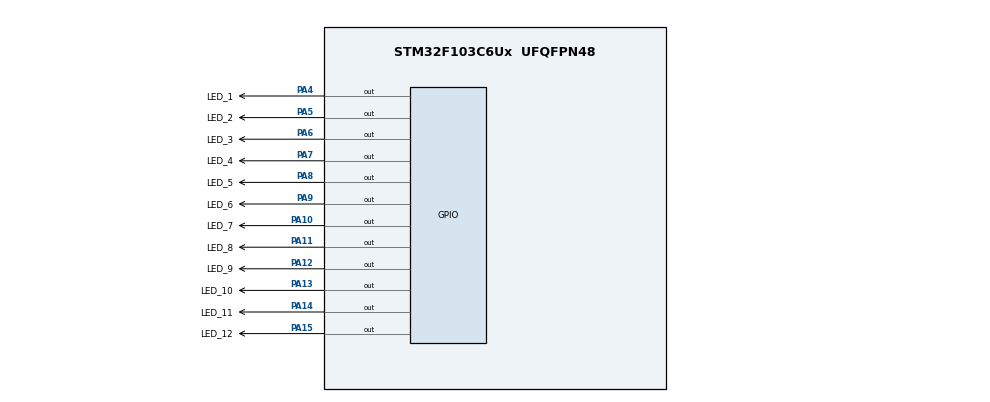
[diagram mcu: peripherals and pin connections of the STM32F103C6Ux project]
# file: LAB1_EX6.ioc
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Mcu.Family=STM32F1
Mcu.Name=STM32F103C6Ux
Mcu.Package=UFQFPN48
NVIC.PriorityGroup=NVIC_PRIORITYGROUP_4
PA10.GPIO_Label=LED_7
PA10.Signal=GPIO_Output
PA11.GPIO_Label=LED_8
PA11.Signal=GPIO_Output
PA12.GPIO_Label=LED_9
PA12.Signal=GPIO_Output
PA13.GPIO_Label=LED_10
PA13.Signal=GPIO_Output
PA14.GPIO_Label=LED_11
PA14.Signal=GPIO_Output
PA15.GPIO_Label=LED_12
PA15.Signal=GPIO_Output
PA4.GPIO_Label=LED_1
PA4.Signal=GPIO_Output
PA5.GPIO_Label=LED_2
PA5.Signal=GPIO_Output
PA6.GPIO_Label=LED_3
PA6.Signal=GPIO_Output
PA7.GPIO_Label=LED_4
PA7.Signal=GPIO_Output
PA8.GPIO_Label=LED_5
PA8.Signal=GPIO_Output
PA9.GPIO_Label=LED_6
PA9.Signal=GPIO_Output
ProjectManager.HeapSize=0x200
ProjectManager.StackSize=0x400
ProjectManager.TargetToolchain=STM32CubeIDE
RCC.APB1Freq_Value=8000000
RCC.APB2Freq_Value=8000000
VP_SYS_VS_ND.Mode=No_Debug
board=custom

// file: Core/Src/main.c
/* USER CODE BEGIN Header */
/**
  ******************************************************************************
  * @file           : main.c
  * @brief          : Main program body
  ******************************************************************************
  * @attention
  *
  * <h2><center>&copy; Copyright (c) 2023 STMicroelectronics.
  * All rights reserved.</center></h2>
  *
  * This software component is licensed by ST under BSD 3-Clause license,
  * the "License"; You may not use this file except in compliance with the
  * License. You may obtain a copy of the License at:
  *                        opensource.org/licenses/BSD-3-Clause
  *
  ******************************************************************************
  */
/* USER CODE END Header */
#include "main.h"

void SystemClock_Config(void);
static void MX_GPIO_Init(void);

int main(void)
{

  /* MCU Configuration--------------------------------------------------------*/

  /* Reset of all peripherals, Initializes the Flash interface and the Systick. */
  HAL_Init();

  /* Configure the system clock */
  SystemClock_Config();

  /* Initialize all configured peripherals */
  MX_GPIO_Init();
  /* USER CODE BEGIN 2 */

  void setNumberOnClock(int num){
	  switch(num){
	  case 1:
		  HAL_GPIO_WritePin(LED_1_GPIO_Port, LED_1_Pin, SET);
		  HAL_GPIO_WritePin(LED_2_GPIO_Port, LED_2_Pin, RESET);
		  HAL_GPIO_WritePin(LED_3_GPIO_Port, LED_3_Pin, RESET);
		  HAL_GPIO_WritePin(LED_4_GPIO_Port, LED_4_Pin, RESET);
		  HAL_GPIO_WritePin(LED_5_GPIO_Port, LED_5_Pin, RESET);
		  HAL_GPIO_WritePin(LED_6_GPIO_Port, LED_6_Pin, RESET);
		  HAL_GPIO_WritePin(LED_7_GPIO_Port, LED_7_Pin, RESET);
		  HAL_GPIO_WritePin(LED_8_GPIO_Port, LED_8_Pin, RESET);
		  HAL_GPIO_WritePin(LED_9_GPIO_Port, LED_9_Pin, RESET);
		  HAL_GPIO_WritePin(LED_10_GPIO_Port, LED_10_Pin, RESET);
		  HAL_GPIO_WritePin(LED_11_GPIO_Port, LED_11_Pin, RESET);
		  HAL_GPIO_WritePin(LED_12_GPIO_Port, LED_12_Pin, RESET);
		  break;

	  case 2:
		  HAL_GPIO_WritePin(LED_1_GPIO_Port, LED_1_Pin, RESET);
		  HAL_GPIO_WritePin(LED_2_GPIO_Port, LED_2_Pin, SET);
		  HAL_GPIO_WritePin(LED_3_GPIO_Port, LED_3_Pin, RESET);
		  HAL_GPIO_WritePin(LED_4_GPIO_Port, LED_4_Pin, RESET);
		  HAL_GPIO_WritePin(LED_5_GPIO_Port, LED_5_Pin, RESET);
		  HAL_GPIO_WritePin(LED_6_GPIO_Port, LED_6_Pin, RESET);
		  HAL_GPIO_WritePin(LED_7_GPIO_Port, LED_7_Pin, RESET);
		  HAL_GPIO_WritePin(LED_8_GPIO_Port, LED_8_Pin, RESET);
		  HAL_GPIO_WritePin(LED_9_GPIO_Port, LED_9_Pin, RESET);
		  HAL_GPIO_WritePin(LED_10_GPIO_Port, LED_10_Pin, RESET);
		  HAL_GPIO_WritePin(LED_11_GPIO_Port, LED_11_Pin, RESET);
		  HAL_GPIO_WritePin(LED_12_GPIO_Port, LED_12_Pin, RESET);
		  break;

	  case 3:
		  HAL_GPIO_WritePin(LED_1_GPIO_Port, LED_1_Pin, RESET);
		  HAL_GPIO_WritePin(LED_2_GPIO_Port, LED_2_Pin, RESET);
		  HAL_GPIO_WritePin(LED_3_GPIO_Port, LED_3_Pin, SET);
		  HAL_GPIO_WritePin(LED_4_GPIO_Port, LED_4_Pin, RESET);
		  HAL_GPIO_WritePin(LED_5_GPIO_Port, LED_5_Pin, RESET);
		  HAL_GPIO_WritePin(LED_6_GPIO_Port, LED_6_Pin, RESET);
		  HAL_GPIO_WritePin(LED_7_GPIO_Port, LED_7_Pin, RESET);
		  HAL_GPIO_WritePin(LED_8_GPIO_Port, LED_8_Pin, RESET);
		  HAL_GPIO_WritePin(LED_9_GPIO_Port, LED_9_Pin, RESET);
		  HAL_GPIO_WritePin(LED_10_GPIO_Port, LED_10_Pin, RESET);
		  HAL_GPIO_WritePin(LED_11_GPIO_Port, LED_11_Pin, RESET);
		  HAL_GPIO_WritePin(LED_12_GPIO_Port, LED_12_Pin, RESET);
		  break;

	  case 4:
		  HAL_GPIO_WritePin(LED_1_GPIO_Port, LED_1_Pin, RESET);
		  HAL_GPIO_WritePin(LED_2_GPIO_Port, LED_2_Pin, RESET);
		  HAL_GPIO_WritePin(LED_3_GPIO_Port, LED_3_Pin, RESET);
		  HAL_GPIO_WritePin(LED_4_GPIO_Port, LED_4_Pin, SET);
		  HAL_GPIO_WritePin(LED_5_GPIO_Port, LED_5_Pin, RESET);
		  HAL_GPIO_WritePin(LED_6_GPIO_Port, LED_6_Pin, RESET);
		  HAL_GPIO_WritePin(LED_7_GPIO_Port, LED_7_Pin, RESET);
		  HAL_GPIO_WritePin(LED_8_GPIO_Port, LED_8_Pin, RESET);
		  HAL_GPIO_WritePin(LED_9_GPIO_Port, LED_9_Pin, RESET);
		  HAL_GPIO_WritePin(LED_10_GPIO_Port, LED_10_Pin, RESET);
		  HAL_GPIO_WritePin(LED_11_GPIO_Port, LED_11_Pin, RESET);
		  HAL_GPIO_WritePin(LED_12_GPIO_Port, LED_12_Pin, RESET);
		  break;

	  case 5:
		  HAL_GPIO_WritePin(LED_1_GPIO_Port, LED_1_Pin, RESET);
		  HAL_GPIO_WritePin(LED_2_GPIO_Port, LED_2_Pin, RESET);
		  HAL_GPIO_WritePin(LED_3_GPIO_Port, LED_3_Pin, RESET);
		  HAL_GPIO_WritePin(LED_4_GPIO_Port, LED_4_Pin, RESET);
		  HAL_GPIO_WritePin(LED_5_GPIO_Port, LED_5_Pin, SET);
		  HAL_GPIO_WritePin(LED_6_GPIO_Port, LED_6_Pin, RESET);
		  HAL_GPIO_WritePin(LED_7_GPIO_Port, LED_7_Pin, RESET);
		  HAL_GPIO_WritePin(LED_8_GPIO_Port, LED_8_Pin, RESET);
		  HAL_GPIO_WritePin(LED_9_GPIO_Port, LED_9_Pin, RESET);
		  HAL_GPIO_WritePin(LED_10_GPIO_Port, LED_10_Pin, RESET);
		  HAL_GPIO_WritePin(LED_11_GPIO_Port, LED_11_Pin, RESET);
		  HAL_GPIO_WritePin(LED_12_GPIO_Port, LED_12_Pin, RESET);
		  break;

	  case 6:
		  HAL_GPIO_WritePin(LED_1_GPIO_Port, LED_1_Pin, RESET);
		  HAL_GPIO_WritePin(LED_2_GPIO_Port, LED_2_Pin, RESET);
		  HAL_GPIO_WritePin(LED_3_GPIO_Port, LED_3_Pin, RESET);
		  HAL_GPIO_WritePin(LED_4_GPIO_Port, LED_4_Pin, RESET);
		  HAL_GPIO_WritePin(LED_5_GPIO_Port, LED_5_Pin, RESET);
		  HAL_GPIO_WritePin(LED_6_GPIO_Port, LED_6_Pin, SET);
		  HAL_GPIO_WritePin(LED_7_GPIO_Port, LED_7_Pin, RESET);
		  HAL_GPIO_WritePin(LED_8_GPIO_Port, LED_8_Pin, RESET);
		  HAL_GPIO_WritePin(LED_9_GPIO_Port, LED_9_Pin, RESET);
		  HAL_GPIO_WritePin(LED_10_GPIO_Port, LED_10_Pin, RESET);
		  HAL_GPIO_WritePin(LED_11_GPIO_Port, LED_11_Pin, RESET);
		  HAL_GPIO_WritePin(LED_12_GPIO_Port, LED_12_Pin, RESET);
		  break;

	  case 7:
		  HAL_GPIO_WritePin(LED_1_GPIO_Port, LED_1_Pin, RESET);
		  HAL_GPIO_WritePin(LED_2_GPIO_Port, LED_2_Pin, RESET);
		  HAL_GPIO_WritePin(LED_3_GPIO_Port, LED_3_Pin, RESET);
		  HAL_GPIO_WritePin(LED_4_GPIO_Port, LED_4_Pin, RESET);
		  HAL_GPIO_WritePin(LED_5_GPIO_Port, LED_5_Pin, RESET);
		  HAL_GPIO_WritePin(LED_6_GPIO_Port, LED_6_Pin, RESET);
		  HAL_GPIO_WritePin(LED_7_GPIO_Port, LED_7_Pin, SET);
		  HAL_GPIO_WritePin(LED_8_GPIO_Port, LED_8_Pin, RESET);
		  HAL_GPIO_WritePin(LED_9_GPIO_Port, LED_9_Pin, RESET);
		  HAL_GPIO_WritePin(LED_10_GPIO_Port, LED_10_Pin, RESET);
		  HAL_GPIO_WritePin(LED_11_GPIO_Port, LED_11_Pin, RESET);
		  HAL_GPIO_WritePin(LED_12_GPIO_Port, LED_12_Pin, RESET);
		  break;

	  case 8:
		  HAL_GPIO_WritePin(LED_1_GPIO_Port, LED_1_Pin, RESET);
		  HAL_GPIO_WritePin(LED_2_GPIO_Port, LED_2_Pin, RESET);
		  HAL_GPIO_WritePin(LED_3_GPIO_Port, LED_3_Pin, RESET);
		  HAL_GPIO_WritePin(LED_4_GPIO_Port, LED_4_Pin, RESET);
		  HAL_GPIO_WritePin(LED_5_GPIO_Port, LED_5_Pin, RESET);
		  HAL_GPIO_WritePin(LED_6_GPIO_Port, LED_6_Pin, RESET);
		  HAL_GPIO_WritePin(LED_7_GPIO_Port, LED_7_Pin, RESET);
		  HAL_GPIO_WritePin(LED_8_GPIO_Port, LED_8_Pin, SET);
		  HAL_GPIO_WritePin(LED_9_GPIO_Port, LED_9_Pin, RESET);
		  HAL_GPIO_WritePin(LED_10_GPIO_Port, LED_10_Pin, RESET);
		  HAL_GPIO_WritePin(LED_11_GPIO_Port, LED_11_Pin, RESET);
		  HAL_GPIO_WritePin(LED_12_GPIO_Port, LED_12_Pin, RESET);
		  break;

	  case 9:
		  HAL_GPIO_WritePin(LED_1_GPIO_Port, LED_1_Pin, RESET);
		  HAL_GPIO_WritePin(LED_2_GPIO_Port, LED_2_Pin, RESET);
		  HAL_GPIO_WritePin(LED_3_GPIO_Port, LED_3_Pin, RESET);
		  HAL_GPIO_WritePin(LED_4_GPIO_Port, LED_4_Pin, RESET);
		  HAL_GPIO_WritePin(LED_5_GPIO_Port, LED_5_Pin, RESET);
		  HAL_GPIO_WritePin(LED_6_GPIO_Port, LED_6_Pin, RESET);
		  HAL_GPIO_WritePin(LED_7_GPIO_Port, LED_7_Pin, RESET);
		  HAL_GPIO_WritePin(LED_8_GPIO_Port, LED_8_Pin, RESET);
		  HAL_GPIO_WritePin(LED_9_GPIO_Port, LED_9_Pin, SET);
		  HAL_GPIO_WritePin(LED_10_GPIO_Port, LED_10_Pin, RESET);
		  HAL_GPIO_WritePin(LED_11_GPIO_Port, LED_11_Pin, RESET);
		  HAL_GPIO_WritePin(LED_12_GPIO_Port, LED_12_Pin, RESET);
		  break;

	  case 10:
		  HAL_GPIO_WritePin(LED_1_GPIO_Port, LED_1_Pin, RESET);
		  HAL_GPIO_WritePin(LED_2_GPIO_Port, LED_2_Pin, RESET);
		  HAL_GPIO_WritePin(LED_3_GPIO_Port, LED_3_Pin, RESET);
		  HAL_GPIO_WritePin(LED_4_GPIO_Port, LED_4_Pin, RESET);
		  HAL_GPIO_WritePin(LED_5_GPIO_Port, LED_5_Pin, RESET);
		  HAL_GPIO_WritePin(LED_6_GPIO_Port, LED_6_Pin, RESET);
		  HAL_GPIO_WritePin(LED_7_GPIO_Port, LED_7_Pin, RESET);
		  HAL_GPIO_WritePin(LED_8_GPIO_Port, LED_8_Pin, RESET);
		  HAL_GPIO_WritePin(LED_9_GPIO_Port, LED_9_Pin, RESET);
		  HAL_GPIO_WritePin(LED_10_GPIO_Port, LED_10_Pin, SET);
		  HAL_GPIO_WritePin(LED_11_GPIO_Port, LED_11_Pin, RESET);
		  HAL_GPIO_WritePin(LED_12_GPIO_Port, LED_12_Pin, RESET);
		  break;

	  case 11:
		  HAL_GPIO_WritePin(LED_1_GPIO_Port, LED_1_Pin, RESET);
		  HAL_GPIO_WritePin(LED_2_GPIO_Port, LED_2_Pin, RESET);
		  HAL_GPIO_WritePin(LED_3_GPIO_Port, LED_3_Pin, RESET);
		  HAL_GPIO_WritePin(LED_4_GPIO_Port, LED_4_Pin, RESET);
		  HAL_GPIO_WritePin(LED_5_GPIO_Port, LED_5_Pin, RESET);
		  HAL_GPIO_WritePin(LED_6_GPIO_Port, LED_6_Pin, RESET);
		  HAL_GPIO_WritePin(LED_7_GPIO_Port, LED_7_Pin, RESET);
		  HAL_GPIO_WritePin(LED_8_GPIO_Port, LED_8_Pin, RESET);
		  HAL_GPIO_WritePin(LED_9_GPIO_Port, LED_9_Pin, RESET);
		  HAL_GPIO_WritePin(LED_10_GPIO_Port, LED_10_Pin, RESET);
		  HAL_GPIO_WritePin(LED_11_GPIO_Port, LED_11_Pin, SET);
		  HAL_GPIO_WritePin(LED_12_GPIO_Port, LED_12_Pin, RESET);
		  break;

	  case 12:
		  HAL_GPIO_WritePin(LED_1_GPIO_Port, LED_1_Pin, RESET);
		  HAL_GPIO_WritePin(LED_2_GPIO_Port, LED_2_Pin, RESET);
		  HAL_GPIO_WritePin(LED_3_GPIO_Port, LED_3_Pin, RESET);
		  HAL_GPIO_WritePin(LED_4_GPIO_Port, LED_4_Pin, RESET);
		  HAL_GPIO_WritePin(LED_5_GPIO_Port, LED_5_Pin, RESET);
		  HAL_GPIO_WritePin(LED_6_GPIO_Port, LED_6_Pin, RESET);
		  HAL_GPIO_WritePin(LED_7_GPIO_Port, LED_7_Pin, RESET);
		  HAL_GPIO_WritePin(LED_8_GPIO_Port, LED_8_Pin, RESET);
		  HAL_GPIO_WritePin(LED_9_GPIO_Port, LED_9_Pin, RESET);
		  HAL_GPIO_WritePin(LED_10_GPIO_Port, LED_10_Pin, RESET);
		  HAL_GPIO_WritePin(LED_11_GPIO_Port, LED_11_Pin, RESET);
		  HAL_GPIO_WritePin(LED_12_GPIO_Port, LED_12_Pin, SET);
		  break;

	  default:
		  HAL_GPIO_WritePin(LED_1_GPIO_Port, LED_1_Pin, SET);
		  HAL_GPIO_WritePin(LED_2_GPIO_Port, LED_2_Pin, SET);
		  HAL_GPIO_WritePin(LED_3_GPIO_Port, LED_3_Pin, SET);
		  HAL_GPIO_WritePin(LED_4_GPIO_Port, LED_4_Pin, SET);
		  HAL_GPIO_WritePin(LED_5_GPIO_Port, LED_5_Pin, SET);
		  HAL_GPIO_WritePin(LED_6_GPIO_Port, LED_6_Pin, SET);
		  HAL_GPIO_WritePin(LED_7_GPIO_Port, LED_7_Pin, SET);
		  HAL_GPIO_WritePin(LED_8_GPIO_Port, LED_8_Pin, SET);
		  HAL_GPIO_WritePin(LED_9_GPIO_Port, LED_9_Pin, SET);
		  HAL_GPIO_WritePin(LED_10_GPIO_Port, LED_10_Pin, SET);
		  HAL_GPIO_WritePin(LED_11_GPIO_Port, LED_11_Pin, SET);
		  HAL_GPIO_WritePin(LED_12_GPIO_Port, LED_12_Pin, SET);
	  }
  }

  /* USER CODE END 2 */

  /* Infinite loop */
  /* USER CODE BEGIN WHILE */
  int counter = 1;
  while (1)
  {
    /* USER CODE END WHILE */
	  if(counter >= 12){
		  counter = 1;
	  }
	  setNumberOnClock(counter++);
	  HAL_Delay(1000);
  }
}

void SystemClock_Config(void)
{
  RCC_OscInitTypeDef RCC_OscInitStruct = {0};
  RCC_ClkInitTypeDef RCC_ClkInitStruct = {0};

  /** Initializes the RCC Oscillators according to the specified parameters
  * in the RCC_OscInitTypeDef structure.
  */
  RCC_OscInitStruct.OscillatorType = RCC_OSCILLATORTYPE_HSI;
  RCC_OscInitStruct.HSIState = RCC_HSI_ON;
  RCC_OscInitStruct.HSICalibrationValue = RCC_HSICALIBRATION_DEFAULT;
  RCC_OscInitStruct.PLL.PLLState = RCC_PLL_NONE;
  if (HAL_RCC_OscConfig(&RCC_OscInitStruct) != HAL_OK)
  {
    Error_Handler();
  }
  /** Initializes the CPU, AHB and APB buses clocks
  */
  RCC_ClkInitStruct.ClockType = RCC_CLOCKTYPE_HCLK|RCC_CLOCKTYPE_SYSCLK
                              |RCC_CLOCKTYPE_PCLK1|RCC_CLOCKTYPE_PCLK2;
  RCC_ClkInitStruct.SYSCLKSource = RCC_SYSCLKSOURCE_HSI;
  RCC_ClkInitStruct.AHBCLKDivider = RCC_SYSCLK_DIV1;
  RCC_ClkInitStruct.APB1CLKDivider = RCC_HCLK_DIV1;
  RCC_ClkInitStruct.APB2CLKDivider = RCC_HCLK_DIV1;

  if (HAL_RCC_ClockConfig(&RCC_ClkInitStruct, FLASH_LATENCY_0) != HAL_OK)
  {
    Error_Handler();
  }
}

static void MX_GPIO_Init(void)
{
  GPIO_InitTypeDef GPIO_InitStruct = {0};

  /* GPIO Ports Clock Enable */
  __HAL_RCC_GPIOA_CLK_ENABLE();

  /*Configure GPIO pin Output Level */
  HAL_GPIO_WritePin(GPIOA, LED_1_Pin|LED_2_Pin|LED_3_Pin|LED_4_Pin
                          |LED_5_Pin|LED_6_Pin|LED_7_Pin|LED_8_Pin
                          |LED_9_Pin|LED_10_Pin|LED_11_Pin|LED_12_Pin, GPIO_PIN_RESET);

  /*Configure GPIO pins : LED_1_Pin LED_2_Pin LED_3_Pin LED_4_Pin
                           LED_5_Pin LED_6_Pin LED_7_Pin LED_8_Pin
                           LED_9_Pin LED_10_Pin LED_11_Pin LED_12_Pin */
  GPIO_InitStruct.Pin = LED_1_Pin|LED_2_Pin|LED_3_Pin|LED_4_Pin
                          |LED_5_Pin|LED_6_Pin|LED_7_Pin|LED_8_Pin
                          |LED_9_Pin|LED_10_Pin|LED_11_Pin|LED_12_Pin;
  GPIO_InitStruct.Mode = GPIO_MODE_OUTPUT_PP;
  GPIO_InitStruct.Pull = GPIO_NOPULL;
  GPIO_InitStruct.Speed = GPIO_SPEED_FREQ_LOW;
  HAL_GPIO_Init(GPIOA, &GPIO_InitStruct);

}

void Error_Handler(void)
{
  __disable_irq();
  while (1)
  {
  }
}

/************************ (C) COPYRIGHT STMicroelectronics *****END OF FILE****/
